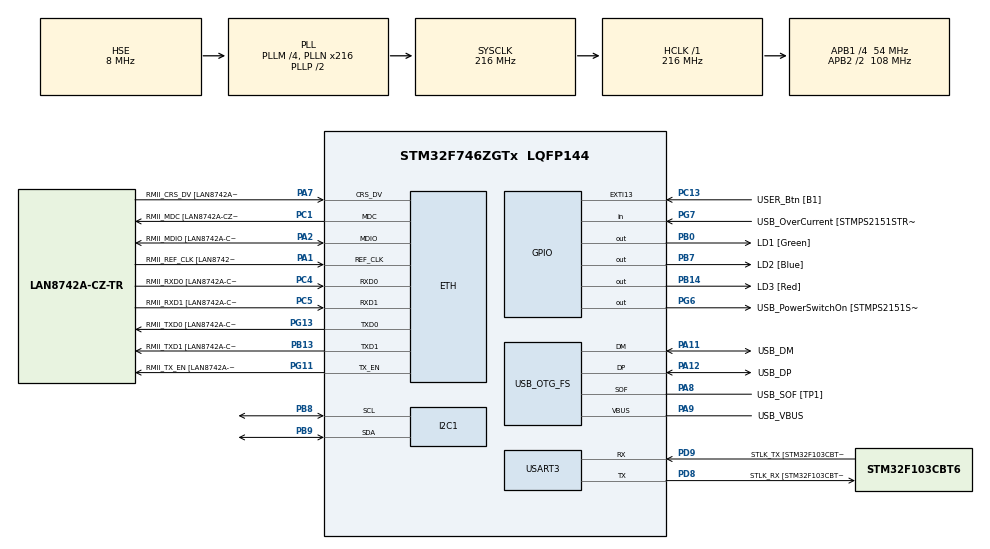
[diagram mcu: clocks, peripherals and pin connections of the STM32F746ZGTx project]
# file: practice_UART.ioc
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CORTEX_M7.default_mode_Activation=1
ETH.MediaInterface=HAL_ETH_RMII_MODE
ETH.PHY_Name=LAN8742A_PHY_ADDRESS
ETH.PHY_Value=0
ETH.PhyAddress=0
I2C1.Timing=0x20404768
Mcu.Family=STM32F7
Mcu.Name=STM32F746ZGTx
Mcu.Package=LQFP144
NVIC.PriorityGroup=NVIC_PRIORITYGROUP_4
NVIC.USART3_IRQn=true\:0\:0\:false\:false\:true\:true\:true\:true
PA1.GPIO_Label=RMII_REF_CLK [LAN8742A-CZ-TR_REFCLK0]
PA1.Mode=RMII
PA1.Signal=ETH_REF_CLK
PA10.GPIO_Label=USB_ID
PA10.Signal=USB_OTG_FS_ID
PA11.GPIO_Label=USB_DM
PA11.Mode=Device_Only
PA11.Signal=USB_OTG_FS_DM
PA12.GPIO_Label=USB_DP
PA12.Mode=Device_Only
PA12.Signal=USB_OTG_FS_DP
PA13.GPIO_Label=TMS
PA13.Mode=Serial_Wire
PA13.Signal=SYS_JTMS-SWDIO
PA14.GPIO_Label=TCK
PA14.Mode=Serial_Wire
PA14.Signal=SYS_JTCK-SWCLK
PA2.GPIO_Label=RMII_MDIO [LAN8742A-CZ-TR_MDIO]
PA2.Mode=RMII
PA2.Signal=ETH_MDIO
PA7.GPIO_Label=RMII_CRS_DV [LAN8742A-CZ-TR_CRS_DV]
PA7.Mode=RMII
PA7.Signal=ETH_CRS_DV
PA8.GPIO_Label=USB_SOF [TP1]
PA8.Mode=Activate_SOF_FS
PA8.Signal=USB_OTG_FS_SOF
PA9.GPIO_Label=USB_VBUS
PA9.Mode=Activate_VBUS
PA9.Signal=USB_OTG_FS_VBUS
PB0.GPIO_Label=LD1 [Green]
PB0.Signal=GPIO_Output
PB13.GPIO_Label=RMII_TXD1 [LAN8742A-CZ-TR_TXD1]
PB13.Mode=RMII
PB13.Signal=ETH_TXD1
PB14.GPIO_Label=LD3 [Red]
PB14.Signal=GPIO_Output
PB3.GPIO_Label=SW0
PB3.Signal=SYS_JTDO-SWO
PB7.GPIO_Label=LD2 [Blue]
PB7.Signal=GPIO_Output
PB8.Mode=I2C
PB8.Signal=I2C1_SCL
PB9.Mode=I2C
PB9.Signal=I2C1_SDA
PC1.GPIO_Label=RMII_MDC [LAN8742A-CZ-TR_MDC]
PC1.Mode=RMII
PC1.Signal=ETH_MDC
PC13.GPIO_Label=USER_Btn [B1]
PC13.Signal=GPXTI13
PC14/OSC32_IN.Mode=LSE-External-Oscillator
PC14/OSC32_IN.Signal=RCC_OSC32_IN
PC15/OSC32_OUT.Mode=LSE-External-Oscillator
PC15/OSC32_OUT.Signal=RCC_OSC32_OUT
PC4.GPIO_Label=RMII_RXD0 [LAN8742A-CZ-TR_RXD0]
PC4.Mode=RMII
PC4.Signal=ETH_RXD0
PC5.GPIO_Label=RMII_RXD1 [LAN8742A-CZ-TR_RXD1]
PC5.Mode=RMII
PC5.Signal=ETH_RXD1
PD8.GPIO_Label=STLK_RX [STM32F103CBT6_PA3]
PD8.GPIO_PuPd=GPIO_PULLUP
PD8.Mode=Asynchronous
PD8.Signal=USART3_TX
PD9.GPIO_Label=STLK_TX [STM32F103CBT6_PA2]
PD9.GPIO_PuPd=GPIO_PULLUP
PD9.Mode=Asynchronous
PD9.Signal=USART3_RX
PG11.GPIO_Label=RMII_TX_EN [LAN8742A-CZ-TR_TXEN]
PG11.Mode=RMII
PG11.Signal=ETH_TX_EN
PG13.GPIO_Label=RMII_TXD0 [LAN8742A-CZ-TR_TXD0]
PG13.Mode=RMII
PG13.Signal=ETH_TXD0
PG6.GPIO_Label=USB_PowerSwitchOn [STMPS2151STR_EN]
PG6.Signal=GPIO_Output
PG7.GPIO_Label=USB_OverCurrent [STMPS2151STR_FAULT]
PG7.Signal=GPIO_Input
PH0/OSC_IN.GPIO_Label=MCO [STM32F103CBT6_PA8]
PH0/OSC_IN.Mode=HSE-External-Clock-Source
PH0/OSC_IN.Signal=RCC_OSC_IN
PH1/OSC_OUT.Mode=HSE-External-Clock-Source
PH1/OSC_OUT.Signal=RCC_OSC_OUT
ProjectManager.HeapSize=0x200
ProjectManager.StackSize=0x400
ProjectManager.TargetToolchain=STM32CubeIDE
RCC.48MHZClocksFreq_Value=24000000
RCC.AHBFreq_Value=216000000
RCC.APB1CLKDivider=RCC_HCLK_DIV4
RCC.APB1Freq_Value=54000000
RCC.APB1TimFreq_Value=108000000
RCC.APB2CLKDivider=RCC_HCLK_DIV2
RCC.APB2Freq_Value=108000000
RCC.APB2TimFreq_Value=216000000
RCC.CortexFreq_Value=216000000
RCC.HCLKFreq_Value=216000000
RCC.HSE_VALUE=8000000
RCC.HSI_VALUE=16000000
RCC.PLLM=4
RCC.PLLMUL=RCC_PLL_MUL9
RCC.PLLN=216
RCC.PLLQ=9
RCC.PRESCALERUSB=RCC_USBCLKSOURCE_PLL_DIV1_5
RCC.SYSCLKFreq_VALUE=216000000
RCC.SYSCLKSource=RCC_SYSCLKSOURCE_PLLCLK
RCC.SYSCLKSourceVirtual=RCC_SYSCLKSOURCE_PLLCLK
RCC.USBFreq_Value=48000000
RCC.VCOOutputFreq_Value=432000000
USART3.VirtualMode-Asynchronous=VM_ASYNC
USB_OTG_FS.VirtualMode=Device_Only
board=NUCLEO-F746ZG

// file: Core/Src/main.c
/* USER CODE BEGIN Header */
/**
  ******************************************************************************
  * @file           : main.c
  * @brief          : Main program body
  ******************************************************************************
  * @attention
  *
  * Copyright (c) 2026 STMicroelectronics.
  * All rights reserved.
  *
  * This software is licensed under terms that can be found in the LICENSE file
  * in the root directory of this software component.
  * If no LICENSE file comes with this software, it is provided AS-IS.
  *
  ******************************************************************************
  */
/* USER CODE END Header */
#include "main.h"
#include "eth.h"
#include "i2c.h"
#include "usart.h"
#include "usb_otg.h"
#include "gpio.h"

/* USER CODE BEGIN Includes */
#include "stdlib.h"
#include "string.h"
/* USER CODE END Includes */

/* USER CODE BEGIN PTD */
typedef enum {
    OFF,
    ON,
    BLINK
}LED_Stat_TypeDef;
/* USER CODE END PTD */

/* USER CODE BEGIN PV */
LED_Stat_TypeDef led_stat = OFF;
uint8_t recv[2] = {0, };
/* USER CODE END PV */

void SystemClock_Config(void);
static void MPU_Config(void);

int main(void)
{

  /* MPU Configuration--------------------------------------------------------*/
  MPU_Config();

  /* MCU Configuration--------------------------------------------------------*/

  /* Reset of all peripherals, Initializes the Flash interface and the Systick. */
  HAL_Init();

  /* Configure the system clock */
  SystemClock_Config();

  /* Initialize all configured peripherals */
  MX_GPIO_Init();
  MX_ETH_Init();
  MX_I2C1_Init();
  MX_USART3_UART_Init();
  MX_USB_OTG_FS_PCD_Init();
  /* USER CODE BEGIN 2 */
HAL_UART_Receive_IT(&huart3, recv, 1);
  /* USER CODE END 2 */

  /* Infinite loop */
  /* USER CODE BEGIN WHILE */
  while (1)
  {

	  HAL_GPIO_TogglePin(GPIOB, GPIO_PIN_0);
	  HAL_Delay(500);
	  switch(led_stat)
		{
		case OFF:
			HAL_GPIO_WritePin(GPIOB, GPIO_PIN_7, GPIO_PIN_RESET);
			break;
		case ON:
			HAL_GPIO_WritePin(GPIOB, GPIO_PIN_7, GPIO_PIN_SET);
			break;
		case BLINK:
			HAL_GPIO_TogglePin(GPIOB, GPIO_PIN_7);
			HAL_Delay(500);
			break;
		}
    /* USER CODE END WHILE */

  }
}

void SystemClock_Config(void)
{
  RCC_OscInitTypeDef RCC_OscInitStruct = {0};
  RCC_ClkInitTypeDef RCC_ClkInitStruct = {0};

  /** Configure LSE Drive Capability
  */
  HAL_PWR_EnableBkUpAccess();

  /** Configure the main internal regulator output voltage
  */
  __HAL_RCC_PWR_CLK_ENABLE();
  __HAL_PWR_VOLTAGESCALING_CONFIG(PWR_REGULATOR_VOLTAGE_SCALE1);

  /** Initializes the RCC Oscillators according to the specified parameters
  * in the RCC_OscInitTypeDef structure.
  */
  RCC_OscInitStruct.OscillatorType = RCC_OSCILLATORTYPE_HSE;
  RCC_OscInitStruct.HSEState = RCC_HSE_BYPASS;
  RCC_OscInitStruct.PLL.PLLState = RCC_PLL_ON;
  RCC_OscInitStruct.PLL.PLLSource = RCC_PLLSOURCE_HSE;
  RCC_OscInitStruct.PLL.PLLM = 4;
  RCC_OscInitStruct.PLL.PLLN = 216;
  RCC_OscInitStruct.PLL.PLLP = RCC_PLLP_DIV2;
  RCC_OscInitStruct.PLL.PLLQ = 9;
  if (HAL_RCC_OscConfig(&RCC_OscInitStruct) != HAL_OK)
  {
    Error_Handler();
  }

  /** Activate the Over-Drive mode
  */
  if (HAL_PWREx_EnableOverDrive() != HAL_OK)
  {
    Error_Handler();
  }

  /** Initializes the CPU, AHB and APB buses clocks
  */
  RCC_ClkInitStruct.ClockType = RCC_CLOCKTYPE_HCLK|RCC_CLOCKTYPE_SYSCLK
                              |RCC_CLOCKTYPE_PCLK1|RCC_CLOCKTYPE_PCLK2;
  RCC_ClkInitStruct.SYSCLKSource = RCC_SYSCLKSOURCE_PLLCLK;
  RCC_ClkInitStruct.AHBCLKDivider = RCC_SYSCLK_DIV1;
  RCC_ClkInitStruct.APB1CLKDivider = RCC_HCLK_DIV4;
  RCC_ClkInitStruct.APB2CLKDivider = RCC_HCLK_DIV2;

  if (HAL_RCC_ClockConfig(&RCC_ClkInitStruct, FLASH_LATENCY_7) != HAL_OK)
  {
    Error_Handler();
  }
}

/* USER CODE BEGIN 4 */
void HAL_UART_RxCpltCallback(UART_HandleTypeDef *huart)
{
	if(huart->Instance == USART3)
	{
		switch(recv[0])
		{
		case 'f':
		case 'F':
			led_stat = OFF;
			break;
		case 'n':
		case 'N':
			led_stat = ON;
			break;
		case 'b':
		case 'B':
			led_stat = BLINK;
			break;
		}
		HAL_UART_Transmit_IT(huart, recv, 1);
		HAL_UART_Receive_IT(huart, recv, 1);
	}
}
/* USER CODE END 4 */

 /* MPU Configuration */

void MPU_Config(void)
{
  MPU_Region_InitTypeDef MPU_InitStruct = {0};

  /* Disables the MPU */
  HAL_MPU_Disable();

  /** Initializes and configures the Region and the memory to be protected
  */
  MPU_InitStruct.Enable = MPU_REGION_ENABLE;
  MPU_InitStruct.Number = MPU_REGION_NUMBER0;
  MPU_InitStruct.BaseAddress = 0x0;
  MPU_InitStruct.Size = MPU_REGION_SIZE_4GB;
  MPU_InitStruct.SubRegionDisable = 0x87;
  MPU_InitStruct.TypeExtField = MPU_TEX_LEVEL0;
  MPU_InitStruct.AccessPermission = MPU_REGION_NO_ACCESS;
  MPU_InitStruct.DisableExec = MPU_INSTRUCTION_ACCESS_DISABLE;
  MPU_InitStruct.IsShareable = MPU_ACCESS_SHAREABLE;
  MPU_InitStruct.IsCacheable = MPU_ACCESS_NOT_CACHEABLE;
  MPU_InitStruct.IsBufferable = MPU_ACCESS_NOT_BUFFERABLE;

  HAL_MPU_ConfigRegion(&MPU_InitStruct);
  /* Enables the MPU */
  HAL_MPU_Enable(MPU_PRIVILEGED_DEFAULT);

}

void Error_Handler(void)
{
  __disable_irq();
  while (1)
  {
  }
}
